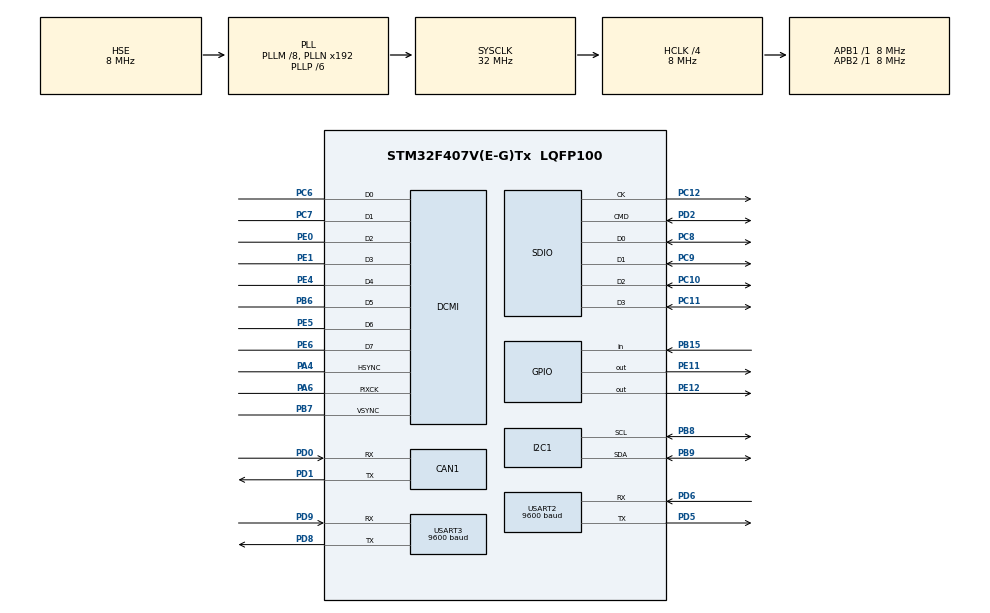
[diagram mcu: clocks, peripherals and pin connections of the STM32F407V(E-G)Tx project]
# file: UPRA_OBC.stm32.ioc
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ADC1.Channel-0\#ChannelRegularConversion=ADC_CHANNEL_TEMPSENSOR
ADC1.NbrOfConversion=1
ADC1.NbrOfConversionFlag=1
ADC1.Rank-0\#ChannelRegularConversion=1
ADC1.SamplingTime-0\#ChannelRegularConversion=ADC_SAMPLETIME_3CYCLES
ADC1.master=1
CAN1.BS1=CAN_BS1_1TQ
CAN1.BS2=CAN_BS2_1TQ
CAN1.CalculateTimeBit=6000
CAN1.CalculateTimeQuantum=2000.0
DCMI.JPEGMode=DCMI_JPEG_DISABLE
Dma.DCMI.0.Direction=DMA_PERIPH_TO_MEMORY
Dma.DCMI.0.FIFOMode=DMA_FIFOMODE_DISABLE
Dma.DCMI.0.Instance=DMA2_Stream1
Dma.DCMI.0.MemDataAlignment=DMA_MDATAALIGN_WORD
Dma.DCMI.0.MemInc=DMA_MINC_ENABLE
Dma.DCMI.0.Mode=DMA_NORMAL
Dma.DCMI.0.PeriphDataAlignment=DMA_PDATAALIGN_WORD
Dma.DCMI.0.PeriphInc=DMA_PINC_DISABLE
Dma.DCMI.0.Priority=DMA_PRIORITY_LOW
Dma.Request0=DCMI
FREERTOS.Tasks01=defaultTask,0,128,StartDefaultTask,Default,NULL
FREERTOS.configTIMER_TASK_PRIORITY=5
FREERTOS.configTIMER_TASK_STACK_DEPTH=500
FREERTOS.configUSE_TIMERS=1
IWDG.Prescaler=IWDG_PRESCALER_256
IWDG.Reload=750
Mcu.Family=STM32F4
Mcu.Name=STM32F407V(E-G)Tx
Mcu.Package=LQFP100
NVIC.DMA2_Stream1_IRQn=true\:5\:0\:false\:false\:true\:true\:false
NVIC.PriorityGroup=NVIC_PRIORITYGROUP_4
PA13.Mode=Trace_Asynchronous_SW
PA13.Signal=SYS_JTMS-SWDIO
PA14.Mode=Trace_Asynchronous_SW
PA14.Signal=SYS_JTCK-SWCLK
PA4.Mode=Slave_8_bits_External_Synchro
PA4.Signal=DCMI_HSYNC
PA6.Mode=Slave_8_bits_External_Synchro
PA6.Signal=DCMI_PIXCK
PB15.Signal=GPIO_Input
PB3.Mode=Trace_Asynchronous_SW
PB3.Signal=SYS_JTDO-SWO
PB6.Mode=Slave_8_bits_External_Synchro
PB6.Signal=DCMI_D5
PB7.Mode=Slave_8_bits_External_Synchro
PB7.Signal=DCMI_VSYNC
PB8.Mode=I2C
PB8.Signal=I2C1_SCL
PB9.Mode=I2C
PB9.Signal=I2C1_SDA
PC10.Mode=SD_4_bits_Wide_bus
PC10.Signal=SDIO_D2
PC11.Mode=SD_4_bits_Wide_bus
PC11.Signal=SDIO_D3
PC12.Mode=SD_4_bits_Wide_bus
PC12.Signal=SDIO_CK
PC6.Mode=Slave_8_bits_External_Synchro
PC6.Signal=DCMI_D0
PC7.Mode=Slave_8_bits_External_Synchro
PC7.Signal=DCMI_D1
PC8.Mode=SD_4_bits_Wide_bus
PC8.Signal=SDIO_D0
PC9.Mode=SD_4_bits_Wide_bus
PC9.Signal=SDIO_D1
PD0.Mode=Master
PD0.Signal=CAN1_RX
PD1.Mode=Master
PD1.Signal=CAN1_TX
PD2.Mode=SD_4_bits_Wide_bus
PD2.Signal=SDIO_CMD
PD5.Mode=Asynchronous
PD5.Signal=USART2_TX
PD6.Mode=Asynchronous
PD6.Signal=USART2_RX
PD8.Mode=Asynchronous
PD8.Signal=USART3_TX
PD9.Mode=Asynchronous
PD9.Signal=USART3_RX
PE0.Mode=Slave_8_bits_External_Synchro
PE0.Signal=DCMI_D2
PE1.Mode=Slave_8_bits_External_Synchro
PE1.Signal=DCMI_D3
PE11.Signal=GPIO_Output
PE12.Signal=GPIO_Output
PE4.Mode=Slave_8_bits_External_Synchro
PE4.Signal=DCMI_D4
PE5.Mode=Slave_8_bits_External_Synchro
PE5.Signal=DCMI_D6
PE6.Mode=Slave_8_bits_External_Synchro
PE6.Signal=DCMI_D7
PH0-OSC_IN.Mode=HSE-External-Oscillator
PH0-OSC_IN.Signal=RCC_OSC_IN
PH1-OSC_OUT.Mode=HSE-External-Oscillator
PH1-OSC_OUT.Signal=RCC_OSC_OUT
ProjectManager.HeapSize=0x200
ProjectManager.StackSize=0x400
ProjectManager.TargetToolchain=SW4STM32
RCC.48MHZClocksFreq_Value=48000000
RCC.AHBCLKDivider=RCC_SYSCLK_DIV4
RCC.AHBFreq_Value=8000000
RCC.APB1Freq_Value=8000000
RCC.APB1TimFreq_Value=8000000
RCC.APB2Freq_Value=8000000
RCC.APB2TimFreq_Value=8000000
RCC.CortexFreq_Value=8000000
RCC.HCLKFreq_Value=8000000
RCC.HSE_VALUE=8000000
RCC.HSI_VALUE=16000000
RCC.LSE_VALUE=32768
RCC.PLLM=8
RCC.PLLP=RCC_PLLP_DIV6
RCC.PLLSourceVirtual=RCC_PLLSOURCE_HSE
RCC.SYSCLKFreq_VALUE=32000000
RCC.SYSCLKSource=RCC_SYSCLKSOURCE_PLLCLK
RCC.VCOOutputFreq_Value=192000000
RTC.Alarm=RTC_ALARM_A
USART2.BaudRate=9600
USART2.VirtualMode=VM_ASYNC
USART3.BaudRate=9600
USART3.VirtualMode=VM_ASYNC
VP_ADC1_TempSens_Input.Mode=IN-TempSens
VP_FATFS_VS_SDIO.Mode=SDIO
VP_FREERTOS_VS_ENABLE.Mode=Enabled
VP_IWDG_VS_IWDG.Mode=IWDG_Activate
VP_RTC_VS_RTC_Activate.Mode=RTC_Enabled
VP_RTC_VS_RTC_Alarm_A_Intern.Mode=Alarm A
VP_RTC_VS_RTC_Calendar.Mode=RTC_Calendar
board=UPRA_OBC.stm32

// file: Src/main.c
/**
  ******************************************************************************
  * File Name          : main.c
  * Description        : Main program body
  ******************************************************************************
  * This notice applies to any and all portions of this file
  * that are not between comment pairs USER CODE BEGIN and
  * USER CODE END. Other portions of this file, whether
  * inserted by the user or by software development tools
  * are owned by their respective copyright owners.
  *
  * Copyright (c) 2017 STMicroelectronics International N.V.
  * All rights reserved.
  *
  * Redistribution and use in source and binary forms, with or without
  * modification, are permitted, provided that the following conditions are met:
  *
  * 1. Redistribution of source code must retain the above copyright notice,
  *    this list of conditions and the following disclaimer.
  * 2. Redistributions in binary form must reproduce the above copyright notice,
  *    this list of conditions and the following disclaimer in the documentation
  *    and/or other materials provided with the distribution.
  * 3. Neither the name of STMicroelectronics nor the names of other
  *    contributors to this software may be used to endorse or promote products
  *    derived from this software without specific written permission.
  * 4. This software, including modifications and/or derivative works of this
  *    software, must execute solely and exclusively on microcontroller or
  *    microprocessor devices manufactured by or for STMicroelectronics.
  * 5. Redistribution and use of this software other than as permitted under
  *    this license is void and will automatically terminate your rights under
  *    this license.
  *
  * THIS SOFTWARE IS PROVIDED BY STMICROELECTRONICS AND CONTRIBUTORS "AS IS"
  * AND ANY EXPRESS, IMPLIED OR STATUTORY WARRANTIES, INCLUDING, BUT NOT
  * LIMITED TO, THE IMPLIED WARRANTIES OF MERCHANTABILITY, FITNESS FOR A
  * PARTICULAR PURPOSE AND NON-INFRINGEMENT OF THIRD PARTY INTELLECTUAL PROPERTY
  * RIGHTS ARE DISCLAIMED TO THE FULLEST EXTENT PERMITTED BY LAW. IN NO EVENT
  * SHALL STMICROELECTRONICS OR CONTRIBUTORS BE LIABLE FOR ANY DIRECT, INDIRECT,
  * INCIDENTAL, SPECIAL, EXEMPLARY, OR CONSEQUENTIAL DAMAGES (INCLUDING, BUT NOT
  * LIMITED TO, PROCUREMENT OF SUBSTITUTE GOODS OR SERVICES; LOSS OF USE, DATA,
  * OR PROFITS; OR BUSINESS INTERRUPTION) HOWEVER CAUSED AND ON ANY THEORY OF
  * LIABILITY, WHETHER IN CONTRACT, STRICT LIABILITY, OR TORT (INCLUDING
  * NEGLIGENCE OR OTHERWISE) ARISING IN ANY WAY OUT OF THE USE OF THIS SOFTWARE,
  * EVEN IF ADVISED OF THE POSSIBILITY OF SUCH DAMAGE.
  *
  ******************************************************************************
  */

#include "main.h"
#include "stm32f4xx_hal.h"
#include "cmsis_os.h"
#include "adc.h"
#include "can.h"
#include "dcmi.h"
#include "dma.h"
#include "fatfs.h"
#include "i2c.h"
#include "iwdg.h"
#include "rtc.h"
#include "sdio.h"
#include "usart.h"
#include "gpio.h"

/* USER CODE BEGIN Includes */
#include "SICL.h"
#include "gps.h"
#include "checksum.h"
#include "flight_data.h"

/* USER CODE END Includes */

/* USER CODE BEGIN PV */
/* Private variables ---------------------------------------------------------*/
UART_HandleTypeDef huart3;
UART_HandleTypeDef huart2;
/* USER CODE END PV */

void SystemClock_Config(void);
void MX_FREERTOS_Init(void);

/* USER CODE BEGIN PFP */
/* Private function prototypes -----------------------------------------------*/

/* USER CODE END PFP */

int main(void)
{

  /* MCU Configuration----------------------------------------------------------*/

  /* Reset of all peripherals, Initializes the Flash interface and the Systick. */
  HAL_Init();

  /* Configure the system clock */
  SystemClock_Config();

  /* Initialize all configured peripherals */
  MX_GPIO_Init();
  MX_DMA_Init();
  MX_CAN1_Init();
  MX_DCMI_Init();
  MX_I2C1_Init();
  MX_IWDG_Init();
  MX_RTC_Init();
  MX_SDIO_SD_Init();
  MX_USART2_UART_Init();
  MX_USART3_UART_Init();
  MX_ADC1_Init();

  /* USER CODE BEGIN 2 */
  sendStatusln("\n\rOBC: startup");
  InitTelemetry();
  InitGPS();

  /* USER CODE END 2 */

  /* Call init function for freertos objects (in freertos.c) */
  MX_FREERTOS_Init();

  /* Start scheduler */
  osKernelStart();

  /* We should never get here as control is now taken by the scheduler */

  /* Infinite loop */
  while (1)
  {

  }

}

/** System Clock Configuration
*/
void SystemClock_Config(void)
{

  RCC_OscInitTypeDef RCC_OscInitStruct;
  RCC_ClkInitTypeDef RCC_ClkInitStruct;
  RCC_PeriphCLKInitTypeDef PeriphClkInitStruct;

    /**Configure the main internal regulator output voltage
    */
  __HAL_RCC_PWR_CLK_ENABLE();

  __HAL_PWR_VOLTAGESCALING_CONFIG(PWR_REGULATOR_VOLTAGE_SCALE1);

    /**Initializes the CPU, AHB and APB busses clocks
    */
  RCC_OscInitStruct.OscillatorType = RCC_OSCILLATORTYPE_LSI|RCC_OSCILLATORTYPE_HSE;
  RCC_OscInitStruct.HSEState = RCC_HSE_ON;
  RCC_OscInitStruct.LSIState = RCC_LSI_ON;
  RCC_OscInitStruct.PLL.PLLState = RCC_PLL_ON;
  RCC_OscInitStruct.PLL.PLLSource = RCC_PLLSOURCE_HSE;
  RCC_OscInitStruct.PLL.PLLM = 8;
  RCC_OscInitStruct.PLL.PLLN = 192;
  RCC_OscInitStruct.PLL.PLLP = RCC_PLLP_DIV6;
  RCC_OscInitStruct.PLL.PLLQ = 4;
  if (HAL_RCC_OscConfig(&RCC_OscInitStruct) != HAL_OK)
  {
    _Error_Handler(__FILE__, __LINE__);
  }

    /**Initializes the CPU, AHB and APB busses clocks
    */
  RCC_ClkInitStruct.ClockType = RCC_CLOCKTYPE_HCLK|RCC_CLOCKTYPE_SYSCLK
                              |RCC_CLOCKTYPE_PCLK1|RCC_CLOCKTYPE_PCLK2;
  RCC_ClkInitStruct.SYSCLKSource = RCC_SYSCLKSOURCE_PLLCLK;
  RCC_ClkInitStruct.AHBCLKDivider = RCC_SYSCLK_DIV4;
  RCC_ClkInitStruct.APB1CLKDivider = RCC_HCLK_DIV1;
  RCC_ClkInitStruct.APB2CLKDivider = RCC_HCLK_DIV1;

  if (HAL_RCC_ClockConfig(&RCC_ClkInitStruct, FLASH_LATENCY_0) != HAL_OK)
  {
    _Error_Handler(__FILE__, __LINE__);
  }

  PeriphClkInitStruct.PeriphClockSelection = RCC_PERIPHCLK_RTC;
  PeriphClkInitStruct.RTCClockSelection = RCC_RTCCLKSOURCE_LSI;
  if (HAL_RCCEx_PeriphCLKConfig(&PeriphClkInitStruct) != HAL_OK)
  {
    _Error_Handler(__FILE__, __LINE__);
  }

    /**Configure the Systick interrupt time
    */
  HAL_SYSTICK_Config(HAL_RCC_GetHCLKFreq()/1000);

    /**Configure the Systick
    */
  HAL_SYSTICK_CLKSourceConfig(SYSTICK_CLKSOURCE_HCLK);

  /* SysTick_IRQn interrupt configuration */
  HAL_NVIC_SetPriority(SysTick_IRQn, 15, 0);
}

void _Error_Handler(char * file, int line)
{
  while(1)
  {
  }
}

/************************ (C) COPYRIGHT STMicroelectronics *****END OF FILE****/

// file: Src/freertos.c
/**
  ******************************************************************************
  * File Name          : freertos.c
  * Description        : Code for freertos applications
  ******************************************************************************
  * This notice applies to any and all portions of this file
  * that are not between comment pairs USER CODE BEGIN and
  * USER CODE END. Other portions of this file, whether
  * inserted by the user or by software development tools
  * are owned by their respective copyright owners.
  *
  * Copyright (c) 2017 STMicroelectronics International N.V.
  * All rights reserved.
  *
  * Redistribution and use in source and binary forms, with or without
  * modification, are permitted, provided that the following conditions are met:
  *
  * 1. Redistribution of source code must retain the above copyright notice,
  *    this list of conditions and the following disclaimer.
  * 2. Redistributions in binary form must reproduce the above copyright notice,
  *    this list of conditions and the following disclaimer in the documentation
  *    and/or other materials provided with the distribution.
  * 3. Neither the name of STMicroelectronics nor the names of other
  *    contributors to this software may be used to endorse or promote products
  *    derived from this software without specific written permission.
  * 4. This software, including modifications and/or derivative works of this
  *    software, must execute solely and exclusively on microcontroller or
  *    microprocessor devices manufactured by or for STMicroelectronics.
  * 5. Redistribution and use of this software other than as permitted under
  *    this license is void and will automatically terminate your rights under
  *    this license.
  *
  * THIS SOFTWARE IS PROVIDED BY STMICROELECTRONICS AND CONTRIBUTORS "AS IS"
  * AND ANY EXPRESS, IMPLIED OR STATUTORY WARRANTIES, INCLUDING, BUT NOT
  * LIMITED TO, THE IMPLIED WARRANTIES OF MERCHANTABILITY, FITNESS FOR A
  * PARTICULAR PURPOSE AND NON-INFRINGEMENT OF THIRD PARTY INTELLECTUAL PROPERTY
  * RIGHTS ARE DISCLAIMED TO THE FULLEST EXTENT PERMITTED BY LAW. IN NO EVENT
  * SHALL STMICROELECTRONICS OR CONTRIBUTORS BE LIABLE FOR ANY DIRECT, INDIRECT,
  * INCIDENTAL, SPECIAL, EXEMPLARY, OR CONSEQUENTIAL DAMAGES (INCLUDING, BUT NOT
  * LIMITED TO, PROCUREMENT OF SUBSTITUTE GOODS OR SERVICES; LOSS OF USE, DATA,
  * OR PROFITS; OR BUSINESS INTERRUPTION) HOWEVER CAUSED AND ON ANY THEORY OF
  * LIABILITY, WHETHER IN CONTRACT, STRICT LIABILITY, OR TORT (INCLUDING
  * NEGLIGENCE OR OTHERWISE) ARISING IN ANY WAY OUT OF THE USE OF THIS SOFTWARE,
  * EVEN IF ADVISED OF THE POSSIBILITY OF SUCH DAMAGE.
  *
  ******************************************************************************
  */

#include "FreeRTOS.h"
#include "task.h"
#include "cmsis_os.h"

/* USER CODE BEGIN Includes */
#include "stm32f4xx_hal.h"
#include <string.h>
#include "SICL.h"
#include "gps.h"
#include "flight_data.h"
/* USER CODE END Includes */

osThreadId defaultTaskHandle;

/* USER CODE BEGIN Variables */
UART_HandleTypeDef huart3;
UART_HandleTypeDef huart2;
IWDG_HandleTypeDef hiwdg;
SICL_InitTypeDef SICL;

uint8_t last=0;
char tmp=0;
TaskHandle_t ltmTaskHandle = NULL;
TaskHandle_t gpsTaskHandle = NULL;

char SICL_RX[64];

uint8_t period = 0;

TimerHandle_t mainTimer;
/* USER CODE END Variables */

void StartDefaultTask(void const * argument);

extern void MX_FATFS_Init(void);
void MX_FREERTOS_Init(void); /* (MISRA C 2004 rule 8.1) */

/* USER CODE BEGIN FunctionPrototypes */
void SICL_process(void const * argument);
void proba1(void const * argument);
void proba2(void const * argument);
void mainTimerCallback(TimerHandle_t xTimer);

//void HAL_UART_RxCpltCallback(UART_HandleTypeDef *huart3);
/* USER CODE END FunctionPrototypes */

/* Hook prototypes */

/* Init FreeRTOS */

void MX_FREERTOS_Init(void) {

  /* USER CODE BEGIN RTOS_TIMERS */
  /* start timers, add new ones, ... */

  mainTimer = xTimerCreate("Timer", ( 1000 / portTICK_PERIOD_MS), pdTRUE, ( void * ) 0, mainTimerCallback );
  if( mainTimer == NULL)
  {
	  HAL_UART_Transmit(&huart3, (uint8_t*)"timer not created\n\r", 19, 100);
  }
  else
  {
	  if( xTimerStart(mainTimer, 0) != pdPASS)
	  {
		  HAL_UART_Transmit(&huart3, (uint8_t*)"timer not started\n\r", 19, 100);
	  }
  }

  /* USER CODE END RTOS_TIMERS */

  /* Create the thread(s) */
  /* definition and creation of defaultTask */
  osThreadDef(defaultTask, StartDefaultTask, osPriorityNormal, 0, 128);
  defaultTaskHandle = osThreadCreate(osThread(defaultTask), NULL);

  /* USER CODE BEGIN RTOS_THREADS */

//  xTaskCreate(SICL_process, "SICL_RX", 500, NULL, osPriorityNormal, &commTaskHandle);
  xTaskCreate(TMLTM_TX, "LowSpeedTelemetry TX", 500, NULL, osPriorityNormal, &ltmTaskHandle);
  xTaskCreate(GPS_Process, "GPS data RX", 500, NULL, osPriorityNormal, &gpsTaskHandle);
   /* USER CODE END RTOS_THREADS */

}

/* StartDefaultTask function */
void StartDefaultTask(void const * argument)
{
  /* init code for FATFS */
  MX_FATFS_Init();

  /* USER CODE BEGIN StartDefaultTask */
  int i=0;
  /* Infinite loop */
  for(;;)
  {
	  //HAL_IWDG_Refresh(&hiwdg);
      /* Send a notification to prvTask2(), bringing it out of the Blocked
      state. */
/*	  if(HAL_UART_Receive(&huart3, (uint8_t*)&tmp, 1, 3000) == HAL_OK)
	  {
		  HAL_IWDG_Refresh(&hiwdg);
		  SICL.RX[i] = tmp;
		 // HAL_UART_Transmit(&huart2, (uint8_t*)tmp, 1, 100);
		  i++;
		  if(tmp == '\n')
		  {
			  tmp = 0;
			  HAL_UART_Transmit(&huart2, (uint8_t*)SICL.RX, i, 100);
			  i = 0;
			  //xTaskNotifyGive( xTask2 );
		  }
	  }
	  else
	  {
		  HAL_UART_Transmit(&huart2, (uint8_t*)"timeout\n\r", 9, 100);
	  }*/
	  osDelay(0);

      /* Block to wait for prvTask2() to notify this task. */
 //     ulTaskNotifyTake( pdTRUE, portMAX_DELAY );
  }
  /* USER CODE END StartDefaultTask */
}

/* USER CODE BEGIN Application */

void SICL_process(void const * argument)
{

}

void proba2(void const * argument)
{
	for( ;; )
    {
        /* Block to wait for prvTask1() to notify this task. */
        ulTaskNotifyTake( pdTRUE, portMAX_DELAY );

        /* Send a notification to prvTask1(), bringing it out of the Blocked
        state. */
 //       xTaskNotifyGive( xTask1 );
        HAL_UART_Transmit(&huart3, (uint8_t*)"task2\n\r", 7, 100);
/*        for(int i = 0; i < strlen(SICL.RX)+1; i++)
        {
        	tmp = SICL.RX[i];
            HAL_UART_Transmit(&huart3, &tmp, 1, 100);
        }*/
 //       HAL_UART_Transmit(&huart3, (uint8_t*)&SICL.RX, strlen(SICL.RX), 100);
        xTimerReset( mainTimer, 0);
        clearSICL_RX();
        char proba[] = {'1', '2' , ',' , '3'};
        SICL_TX_msg("com", proba);
        osDelay(200);
    }
}

void mainTimerCallback(TimerHandle_t xTimer)
{
  /* USER CODE BEGIN mainTimerCallback */
	period++;
/*	if( period > 31 )
	{
		sendDebugln("zeroing");
		period = 0;
	}*/
	if( (period%10) == 0)
	{
		xTaskNotifyGive( gpsTaskHandle );
	}
	if( (period%15) == 0)
	{
		xTaskNotifyGive( ltmTaskHandle );
	}

  /* USER CODE END mainTimerCallback */
}

/* USER CODE END Application */

/************************ (C) COPYRIGHT STMicroelectronics *****END OF FILE****/
